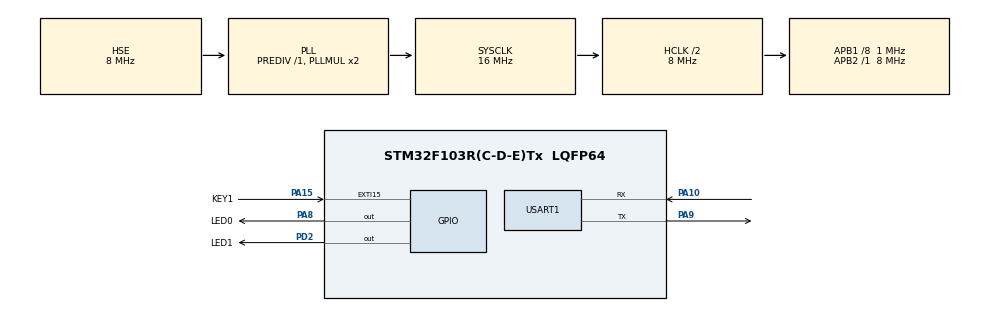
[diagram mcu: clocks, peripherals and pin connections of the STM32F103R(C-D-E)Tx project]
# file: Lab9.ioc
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ADC1.Channel-1\#ChannelRegularConversion=ADC_CHANNEL_TEMPSENSOR
ADC1.ContinuousConvMode=ENABLE
ADC1.NbrOfConversionFlag=1
ADC1.Rank-1\#ChannelRegularConversion=1
ADC1.SamplingTime-1\#ChannelRegularConversion=ADC_SAMPLETIME_7CYCLES_5
ADC1.master=1
Mcu.Family=STM32F1
Mcu.Name=STM32F103R(C-D-E)Tx
Mcu.Package=LQFP64
NVIC.EXTI15_10_IRQn=true\:0\:0\:true\:false\:true\:true\:true
NVIC.PriorityGroup=NVIC_PRIORITYGROUP_3
NVIC.RCC_IRQn=true\:0\:0\:true\:false\:true\:true\:false
NVIC.WWDG_IRQn=true\:2\:0\:true\:false\:true\:true\:true
PA10.Mode=Asynchronous
PA10.Signal=USART1_RX
PA13.Mode=Serial_Wire
PA13.Signal=SYS_JTMS-SWDIO
PA14.Mode=Serial_Wire
PA14.Signal=SYS_JTCK-SWCLK
PA15.GPIO_Label=KEY1
PA15.GPIO_ModeDefaultEXTI=GPIO_MODE_IT_FALLING
PA15.GPIO_PuPd=GPIO_PULLUP
PA15.Signal=GPXTI15
PA8.GPIO_Label=LED0
PA8.Signal=GPIO_Output
PA9.Mode=Asynchronous
PA9.Signal=USART1_TX
PD0-OSC_IN.Mode=HSE-External-Oscillator
PD0-OSC_IN.Signal=RCC_OSC_IN
PD1-OSC_OUT.Mode=HSE-External-Oscillator
PD1-OSC_OUT.Signal=RCC_OSC_OUT
PD2.GPIO_Label=LED1
PD2.Signal=GPIO_Output
ProjectManager.HeapSize=0x200
ProjectManager.StackSize=0x400
ProjectManager.TargetToolchain=STM32CubeIDE
RCC.ADCPresc=RCC_ADCPCLK2_DIV8
RCC.AHBCLKDivider=RCC_SYSCLK_DIV2
RCC.AHBFreq_Value=8000000
RCC.APB1CLKDivider=RCC_HCLK_DIV8
RCC.APB1Freq_Value=1000000
RCC.APB1TimFreq_Value=2000000
RCC.APB2Freq_Value=8000000
RCC.APB2TimFreq_Value=8000000
RCC.HCLKFreq_Value=8000000
RCC.PLLSourceVirtual=RCC_PLLSOURCE_HSE
RCC.SYSCLKFreq_VALUE=16000000
RCC.SYSCLKSource=RCC_SYSCLKSOURCE_PLLCLK
RCC.USBFreq_Value=16000000
USART1.VirtualMode=VM_ASYNC
VP_ADC1_TempSens_Input.Mode=IN-TempSens
VP_WWDG_VS_WWDG.Mode=WWDG_Activate
WWDG.Counter=127
WWDG.EWIMode=WWDG_EWI_ENABLE
WWDG.Prescaler=WWDG_PRESCALER_8
WWDG.Window=127
board=custom

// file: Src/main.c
/* USER CODE BEGIN Header */
/**
  ******************************************************************************
  * @file           : main.c
  * @brief          : Main program body
  ******************************************************************************
  * @attention
  *
  * <h2><center>&copy; Copyright (c) 2019 STMicroelectronics.
  * All rights reserved.</center></h2>
  *
  * This software component is licensed by ST under BSD 3-Clause license,
  * the "License"; You may not use this file except in compliance with the
  * License. You may obtain a copy of the License at:
  *                        opensource.org/licenses/BSD-3-Clause
  *
  ******************************************************************************
  */
/* USER CODE END Header */

#include "main.h"
#include "adc.h"
#include "usart.h"
#include "wwdg.h"
#include "gpio.h"

/* USER CODE BEGIN Includes */
#include "stdio.h"
/* USER CODE END Includes */

/* USER CODE BEGIN PV */
// 引入外部变量
extern UART_HandleTypeDef huart1;
extern WWDG_HandleTypeDef hwwdg;
extern ADC_HandleTypeDef hadc1;
// 在静态区域为变量申请空间
int raw;
float voltage;
float temprature;
/* USER CODE END PV */

void SystemClock_Config(void);
/* USER CODE BEGIN PFP */
// �??测stdio.h文件的putchar函数原型,使其能被正确重载
#ifdef __GNUC__
#define PUTCHAR_PROTO int __io_putchar(int ch)
#else
#define PUTCHAR_PROTO int fputc(int ch, FILE *f)
#endif /* __GNUC__ */

/* USER CODE END PFP */

/* USER CODE BEGIN 0 */
// 重写fputc函数,使其能在串口打印
PUTCHAR_PROTO
{
  HAL_UART_Transmit(&huart1, (uint8_t *)&ch, 1, 0xffff);
  return ch;
}
/* USER CODE END 0 */

int main(void)
{

  /* MCU Configuration--------------------------------------------------------*/

  /* Reset of all peripherals, Initializes the Flash interface and the Systick. */
  HAL_Init();

  /* Configure the system clock */
  SystemClock_Config();

  /* Initialize all configured peripherals */
  MX_GPIO_Init();
  MX_USART1_UART_Init();
  MX_WWDG_Init();
  MX_ADC1_Init();
  /* USER CODE BEGIN 2 */
  // 点亮LED0 100ms后熄�??, 用以指示是否刚刚�??�??(复位)
  HAL_GPIO_WritePin(LED0_GPIO_Port, LED0_Pin, GPIO_PIN_RESET);
  HAL_Delay(100);
  HAL_GPIO_WritePin(LED0_GPIO_Port, LED0_Pin, GPIO_PIN_SET);
  /* USER CODE END 2 */

  /* Infinite loop */
  /* USER CODE BEGIN WHILE */
  // �??启ADC1
  HAL_ADC_Start(&hadc1);
  while (1)
  {
    HAL_Delay(10);
    // 使用ADC1的连续测量模�??
    HAL_ADC_PollForConversion(&hadc1, HAL_MAX_DELAY);
    raw = HAL_ADC_GetValue(&hadc1);
    voltage = raw * 3300 / 4096.0;
    temprature = (1430 - voltage) / 43.0 + 25.0;
    /* USER CODE END WHILE */

  }
}

void SystemClock_Config(void)
{
  RCC_OscInitTypeDef RCC_OscInitStruct = {0};
  RCC_ClkInitTypeDef RCC_ClkInitStruct = {0};
  RCC_PeriphCLKInitTypeDef PeriphClkInit = {0};

  /** Initializes the CPU, AHB and APB busses clocks
  */
  RCC_OscInitStruct.OscillatorType = RCC_OSCILLATORTYPE_HSE;
  RCC_OscInitStruct.HSEState = RCC_HSE_ON;
  RCC_OscInitStruct.HSEPredivValue = RCC_HSE_PREDIV_DIV1;
  RCC_OscInitStruct.HSIState = RCC_HSI_ON;
  RCC_OscInitStruct.PLL.PLLState = RCC_PLL_ON;
  RCC_OscInitStruct.PLL.PLLSource = RCC_PLLSOURCE_HSE;
  RCC_OscInitStruct.PLL.PLLMUL = RCC_PLL_MUL2;
  if (HAL_RCC_OscConfig(&RCC_OscInitStruct) != HAL_OK)
  {
    Error_Handler();
  }
  /** Initializes the CPU, AHB and APB busses clocks
  */
  RCC_ClkInitStruct.ClockType = RCC_CLOCKTYPE_HCLK|RCC_CLOCKTYPE_SYSCLK
                              |RCC_CLOCKTYPE_PCLK1|RCC_CLOCKTYPE_PCLK2;
  RCC_ClkInitStruct.SYSCLKSource = RCC_SYSCLKSOURCE_PLLCLK;
  RCC_ClkInitStruct.AHBCLKDivider = RCC_SYSCLK_DIV2;
  RCC_ClkInitStruct.APB1CLKDivider = RCC_HCLK_DIV8;
  RCC_ClkInitStruct.APB2CLKDivider = RCC_HCLK_DIV1;

  if (HAL_RCC_ClockConfig(&RCC_ClkInitStruct, FLASH_LATENCY_0) != HAL_OK)
  {
    Error_Handler();
  }
  PeriphClkInit.PeriphClockSelection = RCC_PERIPHCLK_ADC;
  PeriphClkInit.AdcClockSelection = RCC_ADCPCLK2_DIV8;
  if (HAL_RCCEx_PeriphCLKConfig(&PeriphClkInit) != HAL_OK)
  {
    Error_Handler();
  }
}

/* USER CODE BEGIN 4 */
void HAL_GPIO_EXTI_Callback(uint16_t GPIO_Pin)
{
  switch (GPIO_Pin)
  {
  case KEY1_Pin:
    if (HAL_GPIO_ReadPin(KEY1_GPIO_Port, KEY1_Pin) == GPIO_PIN_RESET)
    {
      // 刷新WWDG计数�?
      HAL_WWDG_Refresh(&hwwdg);
      // 打印对应的信�?
      printf("\r\n=====WWDG refresh.=====\r\n");
    }
    break;
  default:
    break;
  }
}
void HAL_WWDG_EarlyWakeupCallback(WWDG_HandleTypeDef *hwwdg)
{
  // 翻转LED1以指示是否进入该中断
  HAL_GPIO_TogglePin(LED1_GPIO_Port, LED1_Pin);
  // 串口输出温度值☞
  printf("T = %f\r\n", temprature);
}

/* USER CODE END 4 */

void Error_Handler(void)
{
}

/************************ (C) COPYRIGHT STMicroelectronics *****END OF FILE****/
